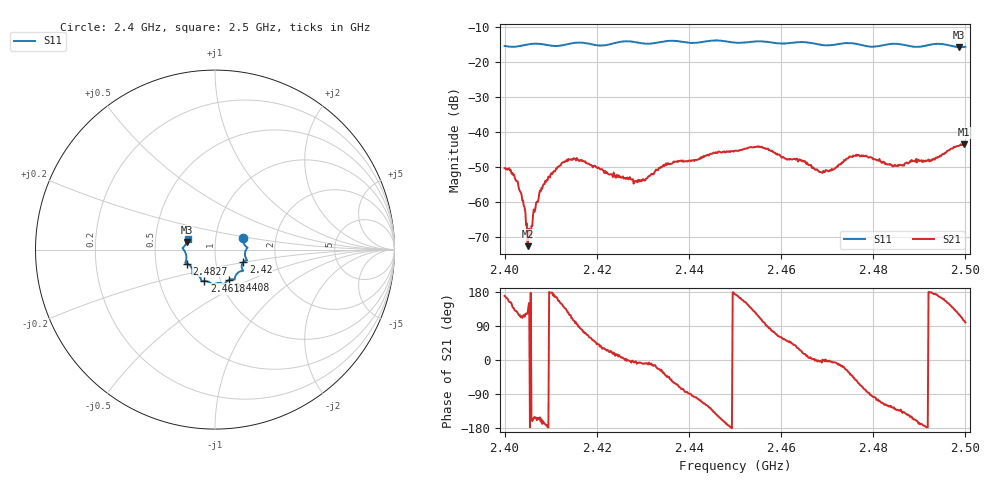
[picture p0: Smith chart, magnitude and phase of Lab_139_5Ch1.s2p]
# Hz S RI R 50
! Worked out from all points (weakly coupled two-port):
!   601 points, 2.4 GHz to 2.5 GHz, reference 50 ohm
!   highest |S21| = -43.57 dB at 2.4997 GHz (marker M1); lowest = -72.7 dB at 2.405 GHz (marker M2)
!   lowest |S11| = -15.8 dB at 2.4987 GHz (marker M3), VSWR 1.39, Z = 36.4 + j3.17 ohm
!   |S11| at or under -10 dB: start of sweep to end of sweep
!   S12 and S22 are empty: the file has one direction only
!   S11 on the Smith chart (normalised r, x): 2.4 GHz: 1.36, +0.17; 2.42 GHz: 1.36, -0.19; 2.4408 GHz: 1.10, -0.38; 2.4618 GHz: 0.84, -0.30; 2.4827 GHz: 0.72, -0.12; 2.5 GHz: 0.73, +0.09
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2.4e9  0.1564 0.0623  -0.00296 0.000571  0 0  0 0
2.4025e9  0.1621 0.0316  -0.00127 0.00153  0 0  0 0
2.405e9  0.1766 0.0141  -0.000127 0.000193  0 0  0 0
2.4055e9  0.1789 0.013  -0.000363 -1.57e-05  0 0  0 0
2.407333e9  0.1807 0.0101  -0.000947 -0.000479  0 0  0 0
2.409667e9  0.1718 -0.00302  -0.00227 2.41e-05  0 0  0 0
2.416667e9  0.1781 -0.0595  0.000603 0.0038  0 0  0 0
2.42e9  0.1579 -0.0693  0.00231 0.00204  0 0  0 0
2.4285e9  0.149 -0.1188  0.00193 -0.000133  0 0  0 0
2.433333e9  0.1119 -0.1522  0.00258 -0.00114  0 0  0 0
2.440833e9  0.0788 -0.1686  -0.000328 -0.00389  0 0  0 0
2.45e9  0.0278 -0.1859  -0.00528 0.000612  0 0  0 0
2.455333e9  -0.0122 -0.1958  -0.00234 0.00569  0 0  0 0
2.461833e9  -0.0599 -0.1752  0.00261 0.00302  0 0  0 0
2.466667e9  -0.0769 -0.1684  0.00304 0.000147  0 0  0 0
2.470667e9  -0.1016 -0.1391  0.00283 -0.000154  0 0  0 0
2.476333e9  -0.126 -0.1292  0.0028 -0.00378  0 0  0 0
2.482667e9  -0.1573 -0.0778  -0.0016 -0.00315  0 0  0 0
2.483333e9  -0.1614 -0.0761  -0.00184 -0.00288  0 0  0 0
2.498667e9  -0.1561 0.0424  -0.00303 0.00558  0 0  0 0
2.499667e9  -0.1524 0.057  -0.00159 0.00644  0 0  0 0
2.5e9  -0.1519 0.0617  -0.00101 0.00648  0 0  0 0
